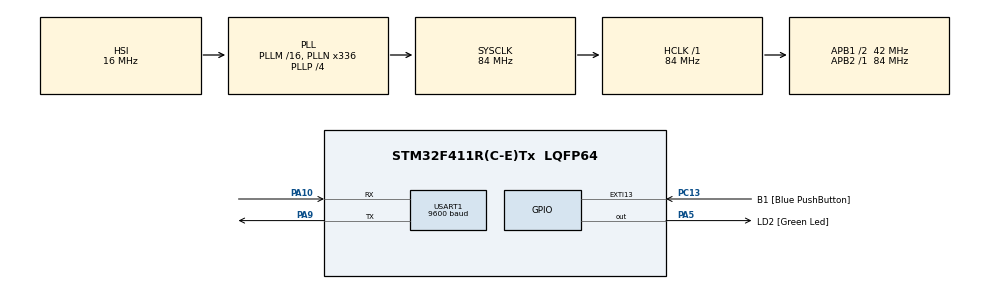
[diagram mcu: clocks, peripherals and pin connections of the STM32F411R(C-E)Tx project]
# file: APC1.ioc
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Mcu.Family=STM32F4
Mcu.Name=STM32F411R(C-E)Tx
Mcu.Package=LQFP64
NVIC.PriorityGroup=NVIC_PRIORITYGROUP_0
NVIC.USART1_IRQn=true\:0\:0\:false\:false\:true\:true\:true\:true
PA10.Mode=Asynchronous
PA10.Signal=USART1_RX
PA13.GPIO_Label=TMS
PA13.Mode=Serial_Wire
PA13.Signal=SYS_JTMS-SWDIO
PA14.GPIO_Label=TCK
PA14.Mode=Serial_Wire
PA14.Signal=SYS_JTCK-SWCLK
PA5.GPIO_Label=LD2 [Green Led]
PA5.Signal=GPIO_Output
PA9.Mode=Asynchronous
PA9.Signal=USART1_TX
PB3.GPIO_Label=SWO
PB3.Signal=SYS_JTDO-SWO
PC13-ANTI_TAMP.GPIO_Label=B1 [Blue PushButton]
PC13-ANTI_TAMP.GPIO_ModeDefaultEXTI=GPIO_MODE_IT_FALLING
PC13-ANTI_TAMP.Signal=GPXTI13
PC14-OSC32_IN.Mode=LSE-External-Oscillator
PC14-OSC32_IN.Signal=RCC_OSC32_IN
PC15-OSC32_OUT.Mode=LSE-External-Oscillator
PC15-OSC32_OUT.Signal=RCC_OSC32_OUT
PH0\ -\ OSC_IN.Mode=HSE-External-Clock-Source
PH0\ -\ OSC_IN.Signal=RCC_OSC_IN
PH1\ -\ OSC_OUT.Mode=HSE-External-Clock-Source
PH1\ -\ OSC_OUT.Signal=RCC_OSC_OUT
ProjectManager.HeapSize=0x200
ProjectManager.StackSize=0x400
ProjectManager.TargetToolchain=STM32CubeIDE
RCC.48MHZClocksFreq_Value=84000000
RCC.AHBFreq_Value=84000000
RCC.APB1CLKDivider=RCC_HCLK_DIV2
RCC.APB1Freq_Value=42000000
RCC.APB1TimFreq_Value=84000000
RCC.APB2Freq_Value=84000000
RCC.APB2TimFreq_Value=84000000
RCC.CortexFreq_Value=84000000
RCC.FLatency-AdvancedSettings=FLASH_LATENCY_2
RCC.HCLKFreq_Value=84000000
RCC.HSE_VALUE=8000000
RCC.HSI_VALUE=16000000
RCC.PLLN=336
RCC.PLLP=RCC_PLLP_DIV4
RCC.SYSCLKFreq_VALUE=84000000
RCC.SYSCLKSource=RCC_SYSCLKSOURCE_PLLCLK
RCC.VCOOutputFreq_Value=336000000
USART1.BaudRate=9600
USART1.VirtualMode=VM_ASYNC
board=NUCLEO-F411RE

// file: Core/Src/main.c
/* USER CODE BEGIN Header */
/**
  ******************************************************************************
  * @file           : main.c
  * @brief          : Main program body
  ******************************************************************************
  * @attention
  *
  * Copyright (c) 2024 STMicroelectronics.
  * All rights reserved.
  *
  * This software is licensed under terms that can be found in the LICENSE file
  * in the root directory of this software component.
  * If no LICENSE file comes with this software, it is provided AS-IS.
  *
  ******************************************************************************
  */
/* USER CODE END Header */
#include "main.h"

/* USER CODE BEGIN Includes */

// import library
#include "apc1.h"

/* USER CODE END Includes */

/* USER CODE BEGIN PD */

// define variables
uint16_t 	 T_pm1_0, T_pm2_5, T_pm10,
  	  	  	 T_pm1_0_air, T_pm2_5_air, T_pm10_air,
			 T_particles_0_3, T_particles_0_5, T_particles_1_0,
			 T_particles_2_5, T_particles_5_0, T_particles_10,
			 T_TVOC, T_eCO2;
double T_t_comp, T_rh_comp, T_t_raw, T_rh_raw;
const char *aqi_string;
const char *error_string;
uint8_t T_aqi;

/* USER CODE END PD */

UART_HandleTypeDef huart1;

void SystemClock_Config(void);
static void MX_GPIO_Init(void);
static void MX_USART1_UART_Init(void);

int main(void)
{

  /* MCU Configuration--------------------------------------------------------*/

  /* Reset of all peripherals, Initializes the Flash interface and the Systick. */
  HAL_Init();

  /* Configure the system clock */
  SystemClock_Config();

  /* Initialize all configured peripherals */
  MX_GPIO_Init();
  MX_USART1_UART_Init();
  /* USER CODE BEGIN 2 */

  /*
   * Example program to initialize sensor
   * and read measurement data every two seconds.
   */

  // Initialize sensor
  if (APC1_Init_Sensor(&huart1) != APC1_OK) {
	  Error_Handler();
  }

  /* If supported, then this command will run. See note.
  if (APC1_Read_Module_Type() != APC1_OK) {
	  Error_Handler();
  }
  */

  /* USER CODE END 2 */

  /* Infinite loop */
  /* USER CODE BEGIN WHILE */
  while (1)
  {
	  // get latest measurement data
	  if (APC1_Read_Mea_Data() != APC1_OK) {
		  Error_Handler();
	  }
	  T_pm1_0 = APC1_Get_PM1_0();
	  T_pm2_5 = APC1_Get_PM2_5();
	  T_pm10 = APC1_Get_PM10();
	  T_pm1_0_air = APC1_Get_PM1_0_air();
	  T_pm2_5_air = APC1_Get_PM2_5_air();
	  T_pm10_air = APC1_Get_PM10_air();
	  T_particles_0_3 = APC1_Get_Particles_GT_0_3();
	  T_particles_0_5 = APC1_Get_Particles_GT_0_5();
	  T_particles_1_0 = APC1_Get_Particles_GT_1_0();
	  T_particles_2_5 = APC1_Get_Particles_GT_2_5();
	  T_particles_5_0 = APC1_Get_Particles_GT_5_0();
	  T_particles_10 = APC1_Get_Particles_GT_10();
	  T_TVOC = APC1_Get_TVOC();
	  T_eCO2 = APC1_Get_eCO2();
	  T_t_comp = APC1_Get_T_Comp();
	  T_rh_comp = APC1_Get_RH_Comp();
	  T_t_raw = APC1_Get_T_Raw();
	  T_rh_raw = APC1_Get_RH_Raw();
	  T_aqi = APC1_Get_AQI();
	  aqi_string = APC1_Get_AQI_String();
	  error_string = APC1_Get_Error_String();
	  HAL_Delay(2000);

    /* USER CODE END WHILE */

  }
}

void SystemClock_Config(void)
{
  RCC_OscInitTypeDef RCC_OscInitStruct = {0};
  RCC_ClkInitTypeDef RCC_ClkInitStruct = {0};

  /** Configure the main internal regulator output voltage
  */
  __HAL_RCC_PWR_CLK_ENABLE();
  __HAL_PWR_VOLTAGESCALING_CONFIG(PWR_REGULATOR_VOLTAGE_SCALE1);

  /** Initializes the RCC Oscillators according to the specified parameters
  * in the RCC_OscInitTypeDef structure.
  */
  RCC_OscInitStruct.OscillatorType = RCC_OSCILLATORTYPE_HSI;
  RCC_OscInitStruct.HSIState = RCC_HSI_ON;
  RCC_OscInitStruct.HSICalibrationValue = RCC_HSICALIBRATION_DEFAULT;
  RCC_OscInitStruct.PLL.PLLState = RCC_PLL_ON;
  RCC_OscInitStruct.PLL.PLLSource = RCC_PLLSOURCE_HSI;
  RCC_OscInitStruct.PLL.PLLM = 16;
  RCC_OscInitStruct.PLL.PLLN = 336;
  RCC_OscInitStruct.PLL.PLLP = RCC_PLLP_DIV4;
  RCC_OscInitStruct.PLL.PLLQ = 4;
  if (HAL_RCC_OscConfig(&RCC_OscInitStruct) != HAL_OK)
  {
    Error_Handler();
  }

  /** Initializes the CPU, AHB and APB buses clocks
  */
  RCC_ClkInitStruct.ClockType = RCC_CLOCKTYPE_HCLK|RCC_CLOCKTYPE_SYSCLK
                              |RCC_CLOCKTYPE_PCLK1|RCC_CLOCKTYPE_PCLK2;
  RCC_ClkInitStruct.SYSCLKSource = RCC_SYSCLKSOURCE_PLLCLK;
  RCC_ClkInitStruct.AHBCLKDivider = RCC_SYSCLK_DIV1;
  RCC_ClkInitStruct.APB1CLKDivider = RCC_HCLK_DIV2;
  RCC_ClkInitStruct.APB2CLKDivider = RCC_HCLK_DIV1;

  if (HAL_RCC_ClockConfig(&RCC_ClkInitStruct, FLASH_LATENCY_2) != HAL_OK)
  {
    Error_Handler();
  }
}

static void MX_USART1_UART_Init(void)
{

  huart1.Instance = USART1;
  huart1.Init.BaudRate = 9600;
  huart1.Init.WordLength = UART_WORDLENGTH_8B;
  huart1.Init.StopBits = UART_STOPBITS_1;
  huart1.Init.Parity = UART_PARITY_NONE;
  huart1.Init.Mode = UART_MODE_TX_RX;
  huart1.Init.HwFlowCtl = UART_HWCONTROL_NONE;
  huart1.Init.OverSampling = UART_OVERSAMPLING_16;
  if (HAL_UART_Init(&huart1) != HAL_OK)
  {
    Error_Handler();
  }

}

/**
  * @param None
  * @retval None
  */
static void MX_GPIO_Init(void)
{
  GPIO_InitTypeDef GPIO_InitStruct = {0};

  /* GPIO Ports Clock Enable */
  __HAL_RCC_GPIOC_CLK_ENABLE();
  __HAL_RCC_GPIOH_CLK_ENABLE();
  __HAL_RCC_GPIOA_CLK_ENABLE();
  __HAL_RCC_GPIOB_CLK_ENABLE();

  /*Configure GPIO pin Output Level */
  HAL_GPIO_WritePin(LD2_GPIO_Port, LD2_Pin, GPIO_PIN_RESET);

  /*Configure GPIO pin : B1_Pin */
  GPIO_InitStruct.Pin = B1_Pin;
  GPIO_InitStruct.Mode = GPIO_MODE_IT_FALLING;
  GPIO_InitStruct.Pull = GPIO_NOPULL;
  HAL_GPIO_Init(B1_GPIO_Port, &GPIO_InitStruct);

  /*Configure GPIO pin : LD2_Pin */
  GPIO_InitStruct.Pin = LD2_Pin;
  GPIO_InitStruct.Mode = GPIO_MODE_OUTPUT_PP;
  GPIO_InitStruct.Pull = GPIO_NOPULL;
  GPIO_InitStruct.Speed = GPIO_SPEED_FREQ_LOW;
  HAL_GPIO_Init(LD2_GPIO_Port, &GPIO_InitStruct);

}

void Error_Handler(void)
{
  /* USER CODE BEGIN Error_Handler_Debug */
  /* User can add his own implementation to report the HAL error return state */
  __disable_irq();
  while (1)
  {
	  // if error occurs, then read its string
	  error_string = APC1_Get_Error_String();
  }
  /* USER CODE END Error_Handler_Debug */
}
